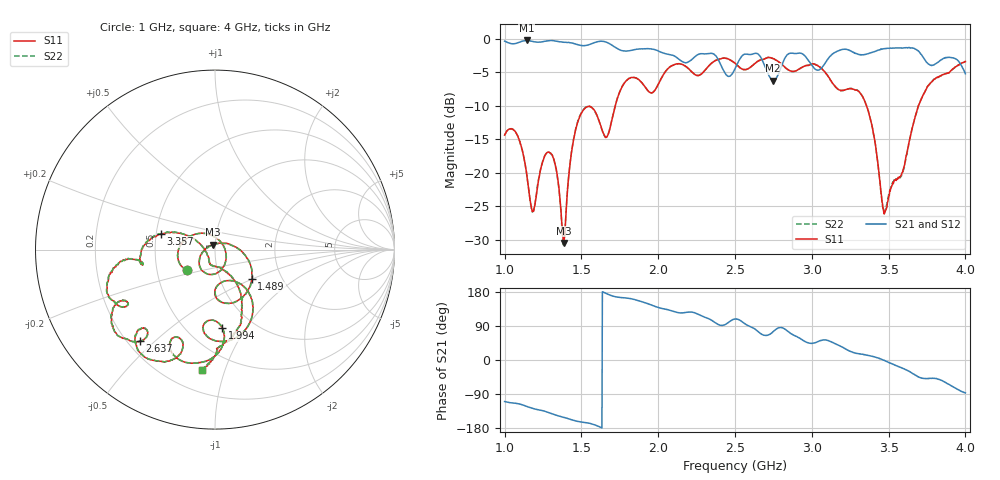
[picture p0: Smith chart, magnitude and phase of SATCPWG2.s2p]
# MHz S MA R 50
!  freq  S11  S21  S12  S22
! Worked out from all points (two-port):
!   1000 points, 1 GHz to 4 GHz, reference 50 ohm
!   highest |S21| = -0.29 dB at 1.144 GHz (marker M1); lowest = -6.3 dB at 2.748 GHz (marker M2)
!   |S21| within 3 dB of the highest: start of sweep to 2.147 GHz; 3.097 GHz to 3.739 GHz (642 MHz wide, 18.8 % of centre)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
!   lowest |S11| = -30.5 dB at 1.384 GHz (marker M3), VSWR 1.06, Z = 48.9 + j2.77 ohm
!   |S11| at or under -10 dB: start of sweep to 1.721 GHz; 3.356 GHz to 3.694 GHz (338.1 MHz wide, 9.59 % of centre)
!   |S22| runs from -30.9 to -2.8 dB; largest |S21 - S12| = 0.0095
!   S11 on the Smith chart (normalised r, x): 1 GHz: 0.72, -0.17; 1.489 GHz: 1.41, -0.50; 1.994 GHz: 0.72, -0.79; 2.637 GHz: 0.25, -0.45; 3.357 GHz: 0.53, +0.10; 4 GHz: 0.34, -0.84
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1000  0.1908 -143.4  0.9566 -109.6  0.9577 -109.5  0.1908 -143.7
1144.144  0.097 115.8  0.9675 -122.4  0.9671 -122.6  0.09692 115.9
1186.186  0.05144 24.1  0.9497 -128.3  0.9504 -128.2  0.05192 22.6
1303.303  0.1385 -119.5  0.9654 -141.3  0.9681 -141.2  0.1373 -119.3
1384.384  0.02997 109.5  0.9375 -151.5  0.9413 -151.3  0.02951 106.6
1489.489  0.2629 -38.7  0.8917 -163.0  0.8941 -162.9  0.265 -38.6
1501.502  0.2806 -45.7  0.8883 -163.9  0.8887 -163.7  0.2827 -45.6
1660.661  0.1833 -73.1  0.9401 175.8  0.9428 175.8  0.1836 -72.4
1792.793  0.485 -71.2  0.8073 163.6  0.8091 163.3  0.4865 -71.3
1993.994  0.4405 -84.8  0.8142 139.4  0.8152 139.5  0.442 -84.4
2000  0.4541 -84.2  0.8083 138.6  0.8088 138.7  0.4557 -83.9
2405.405  0.7053 -118.9  0.6454 91.7  0.6455 91.6  0.7047 -118.8
2501.502  0.654 -132.6  0.6 108.3  0.601 108.2  0.6522 -133.0
2636.637  0.6609 -129.5  0.7759 79.7  0.7748 79.6  0.6612 -129.5
2747.748  0.709 -144.3  0.4863 74.5  0.4867 74.5  0.708 -144.4
2849.85  0.5832 -150.5  0.7718 74.1  0.7734 73.9  0.5809 -150.8
3000  0.647 -155.3  0.6315 44.1  0.6305 43.9  0.6474 -155.6
3357.357  0.3134 163.8  0.7672 12.7  0.7668 12.9  0.3145 164.0
3462.462  0.05499 -176.7  0.8358 0.5  0.8363 0.2  0.05438 -174.3
3501.502  0.06705 -119.1  0.8461 -6.5  0.8477 -6.6  0.06959 -119.1
3744.745  0.4186 -69.7  0.6701 -49.2  0.6699 -49.0  0.4198 -70.0
4000  0.6743 -96.2  0.5462 -86.8  0.5464 -86.9  0.6733 -96.1
